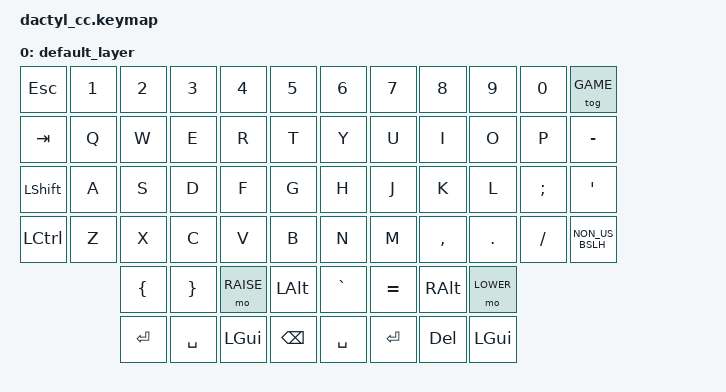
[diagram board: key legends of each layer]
#include <behaviors.dtsi>
#include <dt-bindings/zmk/keys.h>
#include <dt-bindings/zmk/bt.h>
#include <dt-bindings/zmk/outputs.h>

#define DEFAULT 0
#define MAC     1
#define LOWER   2
#define RAISE   3
#define ADJUST  4

#define HYPER(key) LS(LC(LA(LG(key))))
#define MEH(key)   LS(LC(LA(key)))

&sl {
    release-after-ms = <5000>;
};

&kscan0 {
    debounce-press-ms = <30>;
    debounce-release-ms = <30>;
};

/ {
    keymap {
        compatible = "zmk,keymap";

        default_layer {
            bindings = <
&kp ESC         &kp N1  &kp N2            &kp N3      &kp N4     &kp N5       &kp N6      &kp N7     &kp N8     &kp N9       &kp N0    &tog GAME
&kp TAB         &kp Q   &kp W             &kp E       &kp R      &kp T        &kp Y       &kp U      &kp I      &kp O        &kp P     &kp MINUS
&kp LSHIFT      &kp A   &kp S             &kp D       &kp F      &kp G        &kp H       &kp J      &kp K      &kp L        &kp SEMI  &kp SINGLE_QUOTE
&kp LCTRL       &kp Z   &kp X             &kp C       &kp V      &kp B        &kp N       &kp M      &kp COMMA  &kp DOT      &kp FSLH  &kp NON_US_BSLH
                         &kp LBRC         &kp RBRC    &mo RAISE  &kp LALT     &kp GRAVE   &kp EQUAL  &kp RALT   &mo LOWER
                         &kp RET          &kp SPACE   &kp LGUI  &kp BSPC      &kp SPACE   &kp RET    &kp DEL    &kp LGUI
            >;
        };
    };
};
